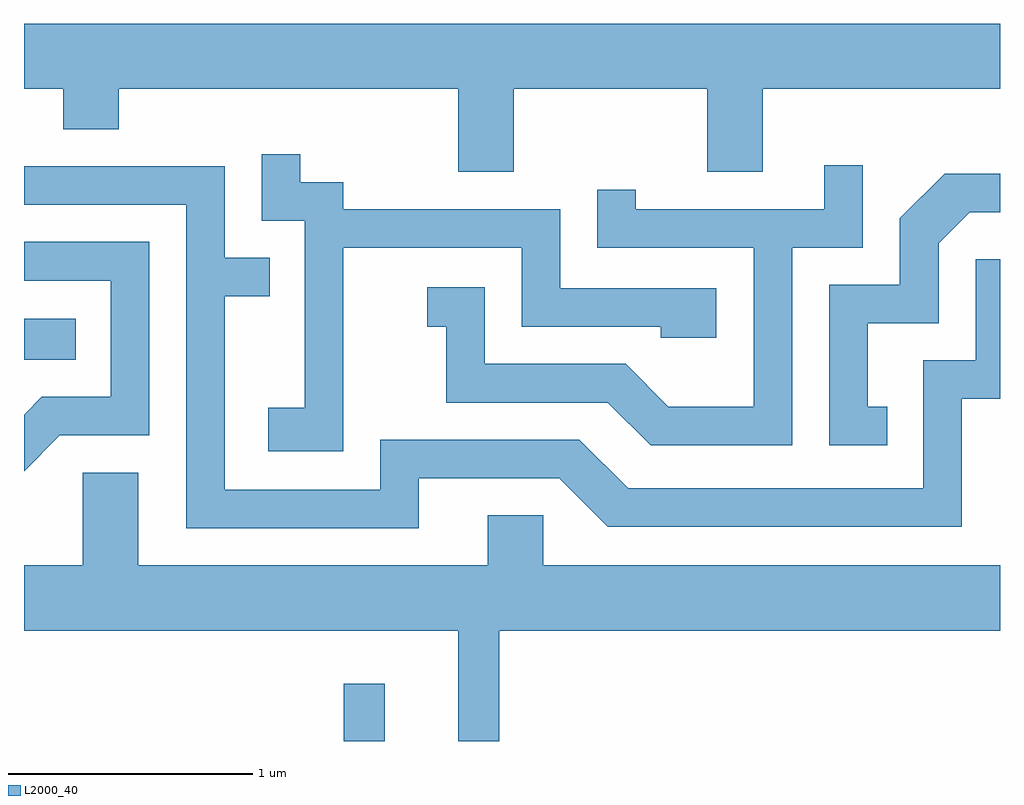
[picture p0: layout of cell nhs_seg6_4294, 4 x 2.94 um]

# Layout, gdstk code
import gdstk
lib = gdstk.Library(unit=1e-6, precision=1e-09)
def R(c, l, rs):  # rectangles x0, y0, x1, y1
    for r in rs: c.add(gdstk.rectangle(r[:2], r[2:], *l))
def P(c, l, *ps):  # polygons
    for p in ps: c.add(gdstk.Polygon(p, *l))
L2000_40 = (2000, 40)

nhs_seg6_4294 = lib.new_cell('nhs_seg6_4294')
R(nhs_seg6_4294, L2000_40, [(316.921,1636.162,317.089,1636.398), (315.611,1637.726,315.823,1637.894)])
P(nhs_seg6_4294, L2000_40, [(317.619,1638.836),(318.411,1638.836),(318.411,1638.496),(318.639,1638.496),(318.639,1638.836),(319.611,1638.836),(319.611,1639.104),(315.611,1639.104),(315.611,1638.836),(315.771,1638.836),(315.771,1638.671),(315.999,1638.671),(315.999,1638.836),(317.391,1638.836),(317.391,1638.496),(317.619,1638.496)],
  [(316.919,1638.186),(317.651,1638.186),(317.651,1637.861),(318.221,1637.861),(318.221,1637.816),(318.449,1637.816),(318.449,1638.019),(317.809,1638.019),(317.809,1638.344),(316.919,1638.344),(316.919,1638.454),(316.744,1638.454),(316.744,1638.568),(316.586,1638.568),(316.586,1638.296),(316.761,1638.296),(316.761,1637.529),(316.611,1637.529),(316.611,1637.351),(316.919,1637.351)],
  [(318.759,1638.186),(319.049,1638.186),(319.049,1638.523),(318.891,1638.523),(318.891,1638.344),(318.119,1638.344),(318.119,1638.423),(317.961,1638.423),(317.961,1638.186),(318.601,1638.186),(318.601,1637.534),(318.252,1637.534),(318.077,1637.709),(317.499,1637.709),(317.499,1638.024),(317.263,1638.024),(317.263,1637.861),(317.341,1637.861),(317.341,1637.551),(318.004,1637.551),(318.179,1637.376),(318.759,1637.376)],
  [(317.229,1637.241),(317.804,1637.241),(318.004,1637.041),(319.454,1637.041),(319.454,1637.566),(319.611,1637.566),(319.611,1638.139),(319.511,1638.139),(319.511,1637.724),(319.296,1637.724),(319.296,1637.199),(318.087,1637.199),(317.887,1637.399),(317.071,1637.399),(317.071,1637.194),(316.434,1637.194),(316.434,1637.986),(316.618,1637.986),(316.618,1638.144),(316.434,1638.144),(316.434,1638.519),(315.611,1638.519),(315.611,1638.361),(316.276,1638.361),(316.276,1637.036),(317.229,1637.036)],
  [(319.148,1637.534),(319.069,1637.534),(319.069,1637.876),(319.359,1637.876),(319.359,1638.204),(319.487,1638.331),(319.611,1638.331),(319.611,1638.489),(319.384,1638.489),(319.201,1638.307),(319.201,1638.034),(318.911,1638.034),(318.911,1637.376),(319.148,1637.376)],
  [(315.757,1637.416),(316.124,1637.416),(316.124,1638.209),(315.611,1638.209),(315.611,1638.051),(315.966,1638.051),(315.966,1637.574),(315.684,1637.574),(315.611,1637.501),(315.611,1637.27)],
  [(317.559,1636.616),(319.611,1636.616),(319.611,1636.884),(317.739,1636.884),(317.739,1637.089),(317.511,1637.089),(317.511,1636.884),(316.079,1636.884),(316.079,1637.264),(315.851,1637.264),(315.851,1636.884),(315.611,1636.884),(315.611,1636.616),(317.391,1636.616),(317.391,1636.162),(317.559,1636.162)])

lib.write_gds('nhs_seg6_4294.gds')
